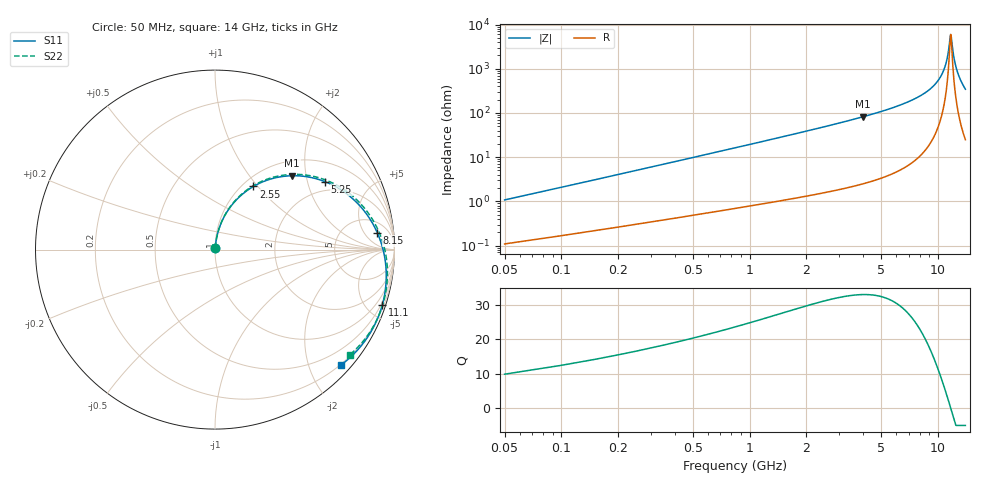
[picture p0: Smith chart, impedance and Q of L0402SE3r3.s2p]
!	AVX Thin Film Operation
!	Date:		5 January 2004
!	Description: 	Accu-L®  L0402 Series Thin Film RF Inductors
!	Part Number:	L04023R3BHNTR
!	50 MHz-20GHz Serial Measurements
#	mhz	S	db	R	50
!	S11	S11	S21	S21	S12	S12	S22	S22
!	dB	Phase	dB	Phase	dB	Phase	dB	Phase
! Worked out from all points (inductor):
!   280 points, 50 MHz to 14 GHz, reference 50 ohm
!   read as one part in series: L = 3.25 nH near 100 MHz
!   highest Q = 32.9 at 4 GHz (marker M1), where L = 3.26 nH
!   self-resonance near 11.7 GHz
!   S11 on the Smith chart (normalised r, x): 50 MHz: 1.00, +0.02; 2.55 GHz: 1.12, +0.95; 5.25 GHz: 1.64, +2.59; 8.15 GHz: 10, +10; 11.1 GHz: 0.36, -6.16; 14 GHz: 0.19, -2.57
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50  -40.02 83.1  -0.01 -0.7  -0.01 -0.7  -40.02 83.1
100  -34.34 83.7  -0.02 -1.3  -0.02 -1.3  -34.34 83.7
200  -28.60 83.5  -0.03 -2.5  -0.03 -2.5  -28.60 83.5
350  -23.94 82.3  -0.05 -4.3  -0.05 -4.3  -23.94 82.3
600  -19.44 79.8  -0.10 -7.2  -0.10 -7.2  -19.44 79.9
1300  -13.04 72.2  -0.30 -15.3  -0.30 -15.3  -13.04 72.5
2400  -8.17 60.3  -0.85 -27.4  -0.85 -27.4  -8.17 60.9
2550  -7.70 58.7  -0.94 -29.0  -0.94 -29.0  -7.70 59.3
4000  -4.50 43.7  -2.11 -43.9  -2.11 -43.9  -4.50 44.7
4700  -3.48 36.9  -2.84 -50.7  -2.84 -50.7  -3.48 38.0
5250  -2.84 31.6  -3.49 -55.8  -3.49 -55.8  -2.84 32.9
7050  -1.38 15.4  -6.21 -71.5  -6.21 -71.5  -1.38 17.1
8150  -0.83 5.9  -8.51 -80.3  -8.51 -80.3  -0.83 8.0
9350  -0.43 -4.1  -12.04 -89.0  -12.04 -89.0  -0.43 -1.6
10400  -0.23 -12.7  -17.09 -94.6  -17.09 -94.6  -0.23 -9.8
11100  -0.16 -18.4  -23.54 -92.9  -23.54 -92.9  -0.16 -15.2
11350  -0.15 -20.4  -27.72 -86.1  -27.72 -86.1  -0.15 -17.2
11700  -0.14 -23.3  -35.98 -23.8  -35.98 -23.8  -0.14 -19.9
12150  -0.15 -27.0  -26.00 46.3  -26.00 46.3  -0.15 -23.4
12500  -0.17 -29.9  -21.26 51.4  -21.26 51.4  -0.17 -26.1
13150  -0.25 -35.3  -16.16 50.8  -16.16 50.8  -0.25 -31.2
14000  -0.43 -42.4  -12.16 46.0  -12.16 46.0  -0.42 -37.9
